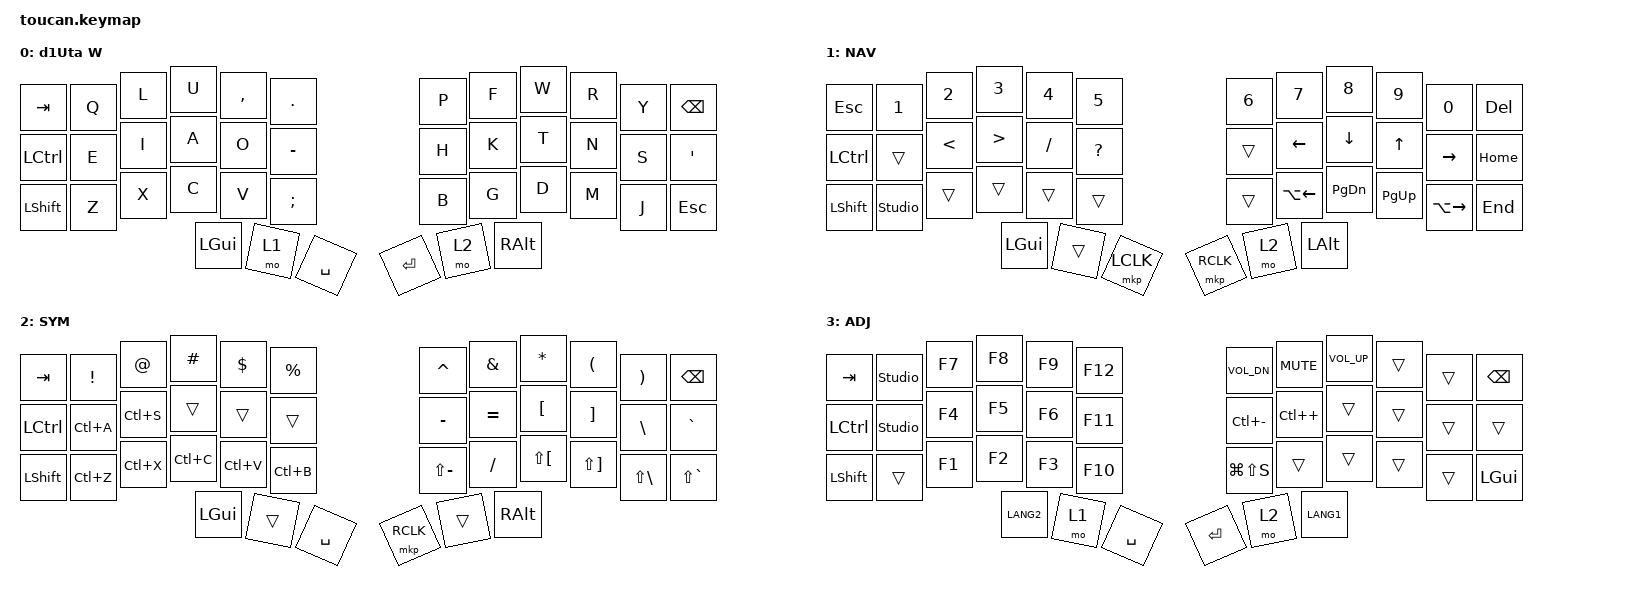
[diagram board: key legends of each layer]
/*
 * Copyright (c) 2020 The ZMK Contributors
 *
 * SPDX-License-Identifier: MIT
 */

#include <behaviors.dtsi>
#include <dt-bindings/zmk/keys.h>
#include <dt-bindings/zmk/bt.h>
#include <dt-bindings/zmk/outputs.h>
#include <dt-bindings/zmk/mouse.h>

/ {
    conditional_layers {
        compatible = "zmk,conditional-layers";
        tri_layer {
            if-layers = <1 2>;
            then-layer = <3>;
        };
    };

    keymap {
        compatible = "zmk,keymap";

        // BASE レイヤー: 大西配列 (o24)
        base {
            display-name = "d1Uta W";
            bindings = <
                &kp TAB   &kp Q &kp L &kp U &kp COMMA &kp DOT   &kp P &kp F  &kp W     &kp R   &kp Y    &kp BSPC
                &kp LCTRL &kp E &kp I &kp A &kp O     &kp MINUS &kp H &kp K  &kp T     &kp N   &kp S    &kp SQT
                &kp LSHFT &kp Z &kp X &kp C &kp V     &kp SEMI  &kp B &kp G  &kp D     &kp M   &kp J    &kp ESC
                                &kp LGUI &mo 1 &kp SPACE        &kp RET &mo 2 &kp RALT
            >;
        };

        nav {
            display-name = "NAV";
            bindings = <
                &kp ESC 
                  &kp N1 &kp N2 &kp N3 &kp N4 &kp N5   &kp N6   &kp N7    &kp N8    &kp N9    &kp N0 &kp DEL
                &kp LCTRL &trans &kp LT &kp GT &kp FSLH &kp QMARK   &trans   &kp LEFT &kp DOWN  &kp UP    &kp RIGHT &kp HOME
                &kp LSHFT &studio_unlock &trans &trans &trans &trans   &trans   &kp LA(LEFT) &kp PG_DN &kp PG_UP &kp LA(RIGHT) &kp END
                                 &kp LGUI &trans &mkp LCLK       &mkp RCLK &mo 2 &kp LALT
            >;
        };

        sym {
            display-name = "SYM";
            bindings = <
                &kp TAB   &kp EXCL &kp AT &kp HASH &kp DLLR &kp PRCNT   &kp CARET &kp AMPS  &kp ASTERISK    &kp LPAR &kp RPAR   &kp BSPC
                &kp LCTRL &kp LC(A) &kp LC(S) &trans    &trans    &trans      &kp MINUS &kp EQUAL &kp LBKT        &kp RBKT &kp BSLH &kp GRAVE
                &kp LSHFT &kp LC(Z) &kp LC(X) &kp LC(C) &kp LC(V) &kp LC(B)   &kp LS(MINUS) &kp FSLH  &kp LS(LBKT)    &kp LS(RBKT) &kp LS(BSLH) &kp LS(GRAVE)
                                 &kp LGUI &trans &kp SPACE        &mkp RCLK &trans &kp RALT
            >;
        };
        
        adj {
            display-name = "ADJ";
            bindings = <
                &kp TAB   &studio_unlock &kp F7    &kp F8    &kp F9    &kp F12      &kp C_VOL_DN &kp C_MUTE &kp C_VOL_UP &trans &trans &kp BSPC
                &kp LCTRL &studio_unlock &kp F4    &kp F5    &kp F6    &kp F11      &kp LC(MINUS)       &kp LC(PLUS)     &trans       &trans &trans &trans
                &kp LSHFT &trans         &kp F1    &kp F2    &kp F3    &kp F10      &kp LG(LS(S))    &trans     &trans       &trans &trans &kp LGUI
                                 &kp LANG2 &mo 1          &kp SPACE &kp RET   &mo 2     &kp LANG1
            >;
        };
    };
};
